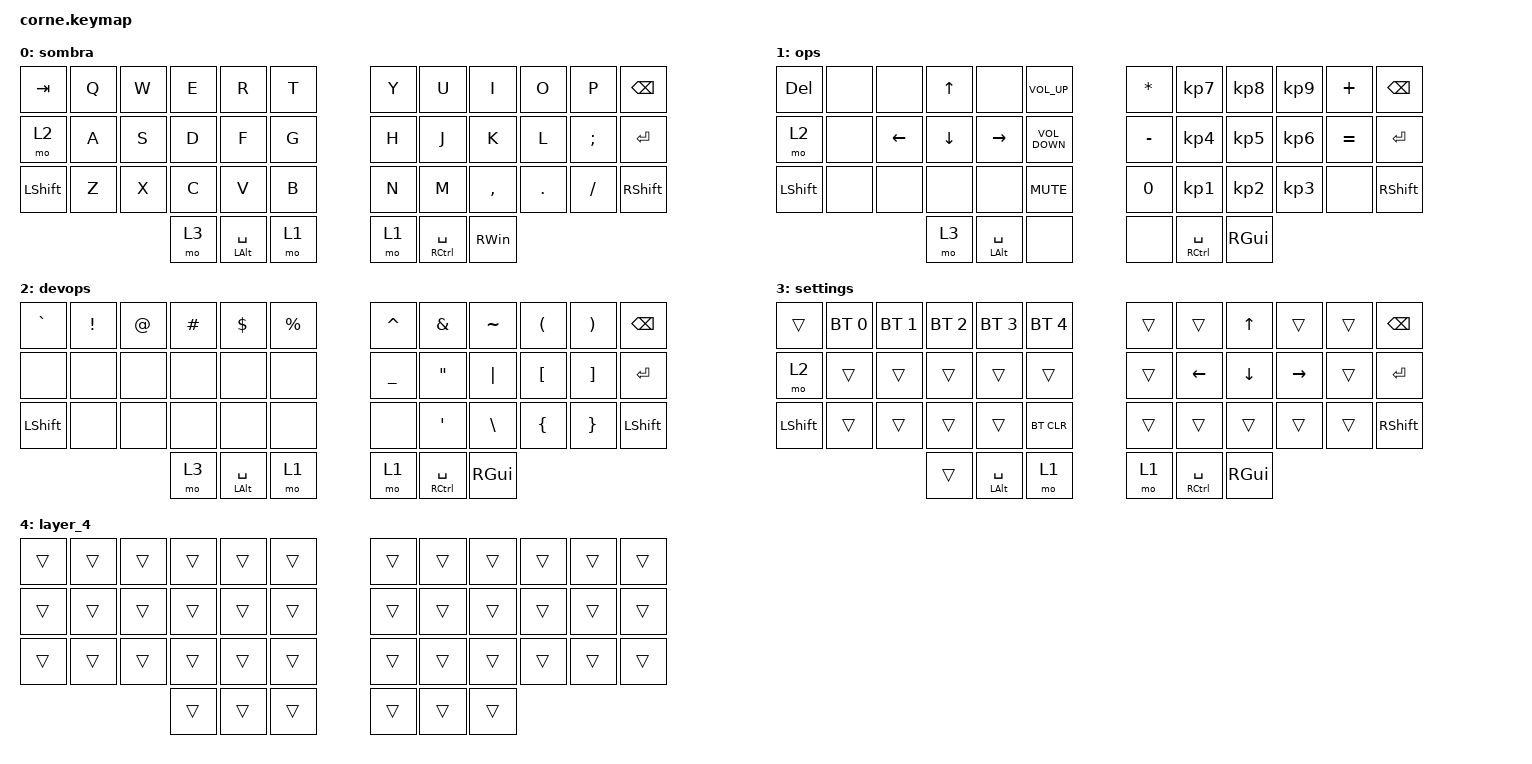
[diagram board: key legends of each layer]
/*
 * Copyright (c) 2020 The ZMK Contributors
 *
 * SPDX-License-Identifier: MIT
 */

#include <behaviors.dtsi>
#include <dt-bindings/zmk/bt.h>
#include <dt-bindings/zmk/keys.h>

/ {
    behaviors {
        new_behavior: new_behavior {
            compatible = "zmk,behavior-hold-tap";
            label = "NEW_BEHAVIOR";
            bindings = <&kp>, <&kp>;

            #binding-cells = <2>;
            flavor = "balanced";
            tapping-term-ms = <200>;
        };
    };

    keymap {
        compatible = "zmk,keymap";

        sombra {
            // -----------------------------------------------------------------------------------------
            // |  TAB |  Q  |  W  |  E  |  R  |  T  |   |  Y  |  U   |  I  |  O  |  P  | BSPC |
            // | CTRL |  A  |  S  |  D  |  F  |  G  |   |  H  |  J   |  K  |  L  |  ;  |  '   |
            // | SHFT |  Z  |  X  |  C  |  V  |  B  |   |  N  |  M   |  ,  |  .  |  /  | ESC  |
            //                    | GUI | LWR | SPC |   | ENT | RSE  | ALT |

            bindings = <
&kp TAB    &kp Q  &kp W  &kp E  &kp R                         &kp T    &kp Y  &kp U                      &kp I          &kp O    &kp P     &kp BSPC
&mo 2      &kp A  &kp S  &kp D  &kp F                         &kp G    &kp H  &kp J                      &kp K          &kp L    &kp SEMI  &kp ENTER
&kp LSHFT  &kp Z  &kp X  &kp C  &kp V                         &kp B    &kp N  &kp M                      &kp COMMA      &kp DOT  &kp FSLH  &kp RIGHT_SHIFT
                         &mo 3  &new_behavior LEFT_ALT SPACE  &mo 1    &mo 1  &new_behavior RCTRL SPACE  &kp RIGHT_WIN
            >;
        };

        ops {
            // -----------------------------------------------------------------------------------------
            // |  TAB |  1  |  2  |  3  |  4  |  5  |   |  6  |  7  |  8  |  9  |  0  | BSPC |
            // | BTCLR| BT1 | BT2 | BT3 | BT4 | BT5 |   | LFT | DWN |  UP | RGT |     |      |
            // | SHFT |     |     |     |     |     |   |     |     |     |     |     |      |
            //                    | GUI |     | SPC |   | ENT |     | ALT |

            bindings = <
&kp DELETE  &none  &none           &kp UP_ARROW    &none                         &kp C_VOLUME_UP      &kp ASTERISK  &kp KP_NUMBER_7                    &kp KP_NUMBER_8  &kp KP_NUMBER_9  &kp PLUS   &kp BSPC
&mo 2       &none  &kp LEFT_ARROW  &kp DOWN_ARROW  &kp RIGHT                     &kp C_VOLUME_DOWN    &kp MINUS     &kp KP_NUMBER_4                    &kp KP_NUMBER_5  &kp KP_NUMBER_6  &kp EQUAL  &kp RET
&kp LSHFT   &none  &none           &none           &none                         &kp K_MUTE           &kp NUMBER_0  &kp KP_NUMBER_1                    &kp KP_NUMBER_2  &kp KP_NUMBER_3  &none      &kp RSHIFT
                                   &mo 3           &new_behavior LEFT_ALT SPACE  &none                &none         &new_behavior RIGHT_CONTROL SPACE  &kp RIGHT_GUI
            >;
        };

        devops {
            // -----------------------------------------------------------------------------------------
            // |  TAB |  !  |  @  |  #  |  $  |  %  |   |  ^  |  &  |  *  |  (  |  )  | BSPC |
            // | CTRL |     |     |     |     |     |   |  -  |  =  |  [  |  ]  |  \  |  `   |
            // | SHFT |     |     |     |     |     |   |  _  |  +  |  {  |  }  | "|" |  ~   |
            //                    | GUI |     | SPC |   | ENT |     | ALT |

            bindings = <
&kp GRAVE  &kp EXCL  &kp AT  &kp HASH  &kp DLLR                      &kp PRCNT    &kp CARET  &kp AMPS                           &kp TILDE      &kp LPAR          &kp RPAR           &kp BSPC
&none      &none     &none   &none     &none                         &none        &kp UNDER  &kp DOUBLE_QUOTES                  &kp PIPE       &kp LEFT_BRACKET  &kp RIGHT_BRACKET  &kp RETURN
&kp LSHFT  &none     &none   &none     &none                         &none        &none      &kp APOS                           &kp BACKSLASH  &kp LEFT_BRACE    &kp RIGHT_BRACE    &kp LSHIFT
                             &mo 3     &new_behavior LEFT_ALT SPACE  &mo 1        &mo 1      &new_behavior RIGHT_CONTROL SPACE  &kp RIGHT_GUI
            >;
        };

        settings {
            bindings = <
&trans          &bt BT_SEL 0  &bt BT_SEL 1  &bt BT_SEL 2  &bt BT_SEL 3                  &bt BT_SEL 4    &trans  &trans                             &kp UP_ARROW    &trans     &trans  &kp BACKSPACE
&mo 2           &trans        &trans        &trans        &trans                        &trans          &trans  &kp LEFT_ARROW                     &kp DOWN_ARROW  &kp RIGHT  &trans  &kp ENTER
&kp LEFT_SHIFT  &trans        &trans        &trans        &trans                        &bt BT_CLR      &trans  &trans                             &trans          &trans     &trans  &kp RIGHT_SHIFT
                                            &trans        &new_behavior LEFT_ALT SPACE  &mo 1           &mo 1   &new_behavior RIGHT_CONTROL SPACE  &kp RIGHT_GUI
            >;
        };

        layer_4 {
            bindings = <
&trans  &trans  &trans  &trans  &trans  &trans    &trans  &trans  &trans  &trans  &trans  &trans
&trans  &trans  &trans  &trans  &trans  &trans    &trans  &trans  &trans  &trans  &trans  &trans
&trans  &trans  &trans  &trans  &trans  &trans    &trans  &trans  &trans  &trans  &trans  &trans
                        &trans  &trans  &trans    &trans  &trans  &trans
            >;
        };
    };
};
